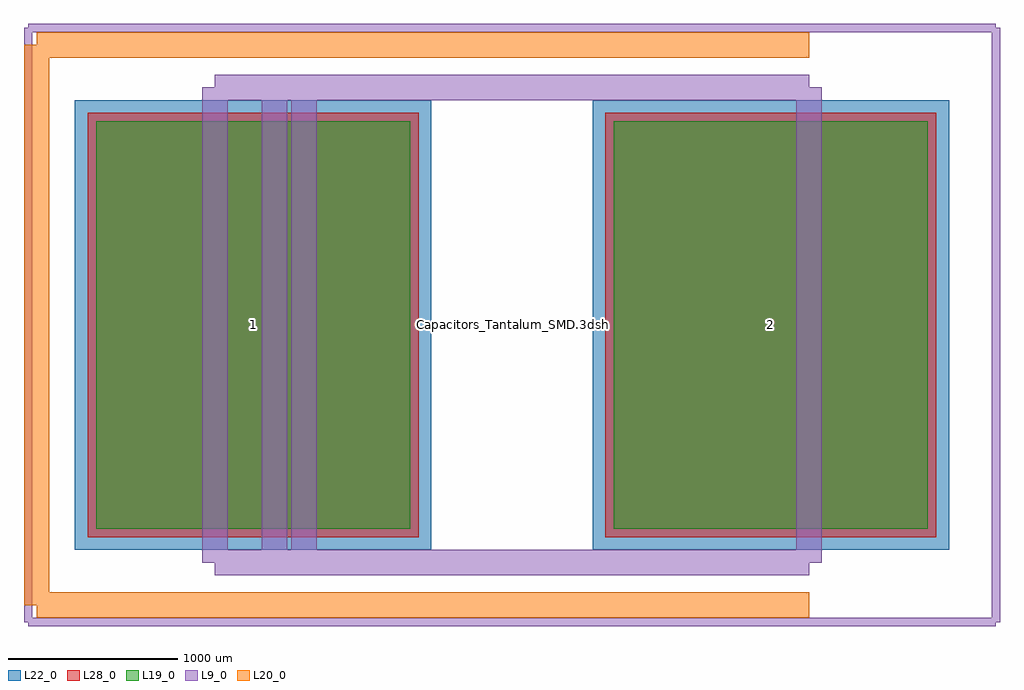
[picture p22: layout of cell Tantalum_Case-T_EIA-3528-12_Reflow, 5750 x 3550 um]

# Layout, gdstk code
import gdstk
lib = gdstk.Library(unit=1e-6, precision=1e-09)
def R(c, l, rs):  # rectangles x0, y0, x1, y1
    for r in rs: c.add(gdstk.rectangle(r[:2], r[2:], *l))
L9_0 = (9, 0)
L19_0 = (19, 0)
L20_0 = (20, 0)
L22_0 = (22, 0)
L28_0 = (28, 0)

tantalum_case_t_eia_3528 = lib.new_cell('Tantalum_Case-T_EIA-3528-12_Reflow')
R(tantalum_case_t_eia_3528, L19_0, [(-2450,-1200,-600,1200), (600,-1200,2450,1200)])
R(tantalum_case_t_eia_3528, L22_0, [(-2575,-1325,-475,1325), (475,-1325,2575,1325)])
R(tantalum_case_t_eia_3528, L28_0, [(-2500,-1250,-550,1250), (550,-1250,2500,1250)])
tantalum_case_t_eia_3528.add(gdstk.FlexPath([(-2800,1650),(-2800,-1650)], 149.998, ends="flush", simple_path=True, layer=20, datatype=0))  # L20_0
tantalum_case_t_eia_3528.add(gdstk.FlexPath([(-2800,-1650),(1750,-1650)], 149.998, ends="flush", simple_path=True, layer=20, datatype=0))  # L20_0
tantalum_case_t_eia_3528.add(gdstk.FlexPath([(-2800,1650),(1750,1650)], 149.998, ends="flush", simple_path=True, layer=20, datatype=0))  # L20_0
tantalum_case_t_eia_3528.add(gdstk.FlexPath([(-1225,1400),(-1225,-1400)], 149.998, ends="flush", simple_path=True, layer=9, datatype=0))  # L9_0
tantalum_case_t_eia_3528.add(gdstk.FlexPath([(-1400,1400),(-1400,-1400)], 149.998, ends="flush", simple_path=True, layer=9, datatype=0))  # L9_0
tantalum_case_t_eia_3528.add(gdstk.FlexPath([(1750,1400),(-1750,1400)], 149.998, ends="flush", simple_path=True, layer=9, datatype=0))  # L9_0
tantalum_case_t_eia_3528.add(gdstk.FlexPath([(1750,-1400),(1750,1400)], 149.998, ends="flush", simple_path=True, layer=9, datatype=0))  # L9_0
tantalum_case_t_eia_3528.add(gdstk.FlexPath([(-1750,-1400),(1750,-1400)], 149.998, ends="flush", simple_path=True, layer=9, datatype=0))  # L9_0
tantalum_case_t_eia_3528.add(gdstk.FlexPath([(-1750,1400),(-1750,-1400)], 149.998, ends="flush", simple_path=True, layer=9, datatype=0))  # L9_0
tantalum_case_t_eia_3528.add(gdstk.FlexPath([(2850,1750),(-2850,1750)], 50, ends="flush", simple_path=True, layer=9, datatype=0))  # L9_0
tantalum_case_t_eia_3528.add(gdstk.FlexPath([(2850,-1750),(2850,1750)], 50, ends="flush", simple_path=True, layer=9, datatype=0))  # L9_0
tantalum_case_t_eia_3528.add(gdstk.FlexPath([(-2850,-1750),(2850,-1750)], 50, ends="flush", simple_path=True, layer=9, datatype=0))  # L9_0
tantalum_case_t_eia_3528.add(gdstk.FlexPath([(-2850,1750),(-2850,-1750)], 50, ends="flush", simple_path=True, layer=9, datatype=0))  # L9_0
tantalum_case_t_eia_3528.add(gdstk.Label('Capacitors_Tantalum_SMD.3dshapes/Tantalum_Case-T_EIA-3528-12.wrl', (0,0), layer=12, texttype=0))
tantalum_case_t_eia_3528.add(gdstk.Label('2', (1525,0), layer=28, texttype=0))
tantalum_case_t_eia_3528.add(gdstk.Label('1', (-1525,0), layer=28, texttype=0))
tantalum_case_t_eia_3528.add(gdstk.Label('type', (0,-3150), layer=9, texttype=0))
tantalum_case_t_eia_3528.add(gdstk.Label('devicename', (0,3150), layer=9, texttype=0))

lib.write_gds('Tantalum_Case-T_EIA-3528-12_Reflow.gds')
